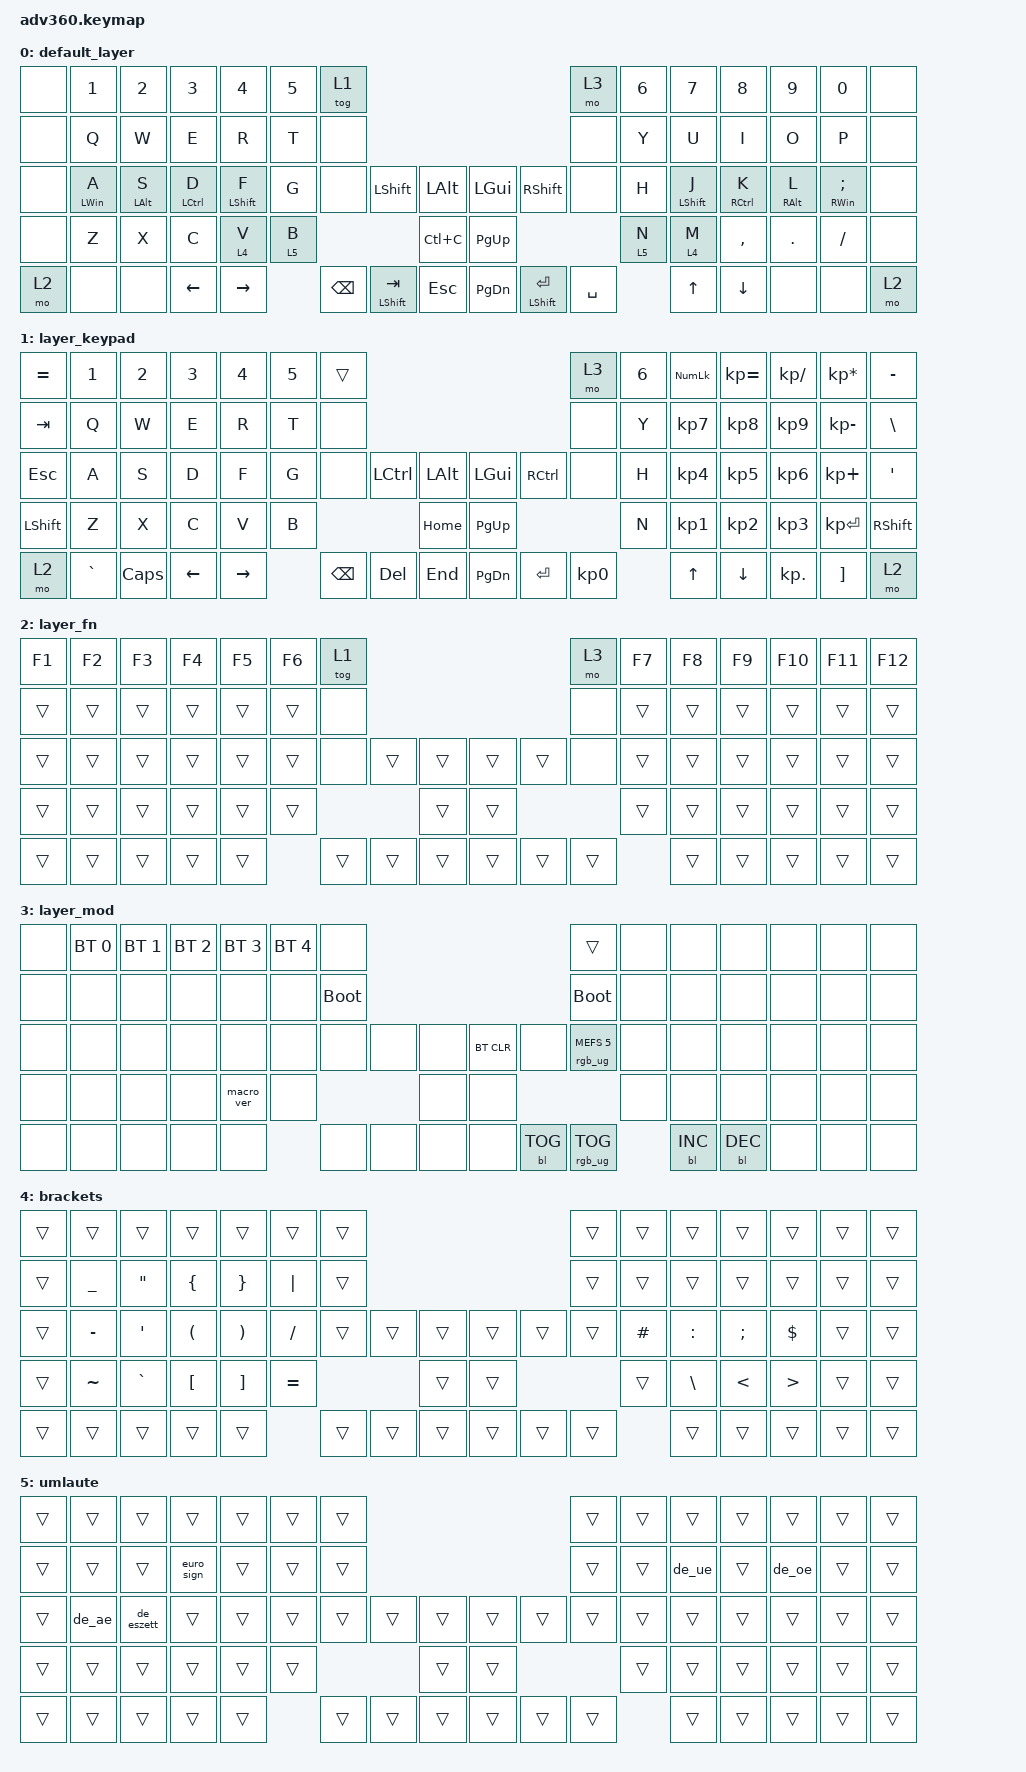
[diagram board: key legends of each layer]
/*
 * Copyright (c) 2020 The ZMK Contributors
 *
 * SPDX-License-Identifier: MIT
 */
/* THIS FILE WAS GENERATED!
 *
 * This file was generated automatically. You may or may not want to
 * edit it directly.
 */

#define HOST_OS 1

#include <behaviors.dtsi>
#include <dt-bindings/zmk/backlight.h>
#include <dt-bindings/zmk/bt.h>
#include <dt-bindings/zmk/keys.h>
#include <dt-bindings/zmk/rgb.h>

#include "./zmk-nodefree-config/helper.h"
#include "./zmk-nodefree-config/international_chars/german.dtsi"

/* Euro sign (U+20AC) */
ZMK_UNICODE_SINGLE(euro_sign, N2, N0, A, C)

#define LEFT_HAND_KEYS 0 1 2 3 4 5 6 \
                  14 15 16 17 18 19 20 \
                  28 29 30 31 32 33 34 \
                  46 47 48 49 50 51 \
                  66 67 68 69 70
#define RIGHT_HAND_KEYS 7 8 9 10 11 12 13 \
                   21 22 23 24 25 26 27 \
                   39 40 41 42 43 44 45 \
                   60 61 62 63 64 65 \
                   77 78 79 80 81
#define THUMB_KEYS 35 36 54 71 72 73 37 38 57 74 75 76
#define THUMBS THUMBS_LEFT THUMBS_RIGHT

/ {
    behaviors {
        #include "macros.dtsi"
        #include "version.dtsi"

        #ifndef HOMEY_HOLDING_TYPE
        #define HOMEY_HOLDING_TYPE "tap-preferred"
        #endif

        #ifndef HOMEY_HOLDING_TIME
        #define HOMEY_HOLDING_TIME 170
        #endif

        #ifndef HOMEY_STREAK_DECAY
        #define HOMEY_STREAK_DECAY 80
        #endif

        #ifndef SHIFT_HOLDING_TYPE
        #define SHIFT_HOLDING_TYPE "tap-preferred"
        #endif

        #ifndef SHIFT_HOLDING_TIME
        #define SHIFT_HOLDING_TIME 170
        #endif

        #ifndef SHIFT_STREAK_DECAY
        #define SHIFT_STREAK_DECAY 0
        #endif

        #ifndef PLAIN_HOLDING_TYPE
        #define PLAIN_HOLDING_TYPE "tap-preferred"
        #endif

        #ifndef PLAIN_HOLDING_TIME
        #define PLAIN_HOLDING_TIME 170
        #endif

        #ifndef PLAIN_STREAK_DECAY
        #define PLAIN_STREAK_DECAY 130
        #endif

        #ifndef THUMB_HOLDING_TYPE
        #define THUMB_HOLDING_TYPE "balanced"
        #endif

        #ifndef THUMB_HOLDING_TIME
        #define THUMB_HOLDING_TIME 200
        #endif

        #ifndef SPACE_HOLDING_TYPE
        #define SPACE_HOLDING_TYPE "balanced"
        #endif

        #ifndef SPACE_HOLDING_TIME
        #define SPACE_HOLDING_TIME 200
        #endif

        hm: homerow_mods {
            compatible = "zmk,behavior-hold-tap";
            label = "HOMEROW_MODS";
            #binding-cells = <2>;
            tapping-term-ms = <200>;
            quick_tap_ms = <175>;
            flavor = "tap-preferred";
            bindings = <&kp>, <&kp>;
        };

        //
        // Home row mod-tap keys for all except index fingers
        //

        homey_left: home_row_mods_left_hand {
            compatible = "zmk,behavior-hold-tap";
            label = "HOME_ROW_MODS_LEFT_HAND";
            flavor =
            HOMEY_HOLDING_TYPE;
            hold-trigger-key-positions = <RIGHT_HAND_KEYS THUMB_KEYS>;
            hold-trigger-on-release; // wait for other home row mods
            tapping-term-ms = <HOMEY_HOLDING_TIME>;
            require-prior-idle-ms = <HOMEY_STREAK_DECAY>;
            #binding-cells = <2>;
            bindings = <&kp>, <&kp>;
        };

        homey_right: home_row_mods_right_hand {
            compatible = "zmk,behavior-hold-tap";
            label = "HOME_ROW_MODS_RIGHT_HAND";
            flavor =
            HOMEY_HOLDING_TYPE;
            hold-trigger-key-positions = <LEFT_HAND_KEYS THUMB_KEYS>;
            hold-trigger-on-release; // wait for other home row mods
            tapping-term-ms = <HOMEY_HOLDING_TIME>;
            require-prior-idle-ms = <HOMEY_STREAK_DECAY>;
            #binding-cells = <2>;
            bindings = <&kp>, <&kp>;
        };

        //
        // Special home row mod-tap keys for the index fingers
        //

        shift_left: home_row_shift_left_hand {
            compatible = "zmk,behavior-hold-tap";
            label = "HOME_ROW_SHIFT_LEFT_HAND";
            flavor =
            SHIFT_HOLDING_TYPE;
            hold-trigger-key-positions = <RIGHT_HAND_KEYS THUMB_KEYS>;

            //hold-trigger-on-release; // don't wait for other mods

            tapping-term-ms = <SHIFT_HOLDING_TIME>;
            require-prior-idle-ms = <SHIFT_STREAK_DECAY>;
            #binding-cells = <2>;
            bindings = <&kp>, <&kp>;
        };

        shift_right: home_row_shift_right_hand {
            compatible = "zmk,behavior-hold-tap";
            label = "HOME_ROW_SHIFT_RIGHT_HAND";
            flavor =
            SHIFT_HOLDING_TYPE;
            hold-trigger-key-positions = <LEFT_HAND_KEYS THUMB_KEYS>;

            //hold-trigger-on-release; // don't wait for other mods

            tapping-term-ms = <SHIFT_HOLDING_TIME>;
            require-prior-idle-ms = <SHIFT_STREAK_DECAY>;
            #binding-cells = <2>;
            bindings = <&kp>, <&kp>;
        };

        plain: plain_typing_layer {
            compatible = "zmk,behavior-hold-tap";
            label = "PLAIN_TYPING_LAYER";
            flavor =
            PLAIN_HOLDING_TYPE;
            tapping-term-ms = <PLAIN_HOLDING_TIME>;
            require-prior-idle-ms = <PLAIN_STREAK_DECAY>;
            #binding-cells = <2>;
            bindings = <&mo>, <&kp>;
        };

        //
        // Thumb cluster hold-tap keys for Miryoku layers
        //

        thumb: thumb_layer_access {
            compatible = "zmk,behavior-hold-tap";
            label = "THUMB_LAYER_ACCESS";
            flavor =
            THUMB_HOLDING_TYPE;
            tapping-term-ms = <THUMB_HOLDING_TIME>;
            #binding-cells = <2>;
            bindings = <&mo>, <&kp>;
        };

        space: thumb_layer_access_spacebar {
            compatible = "zmk,behavior-hold-tap";
            label = "THUMB_LAYER_ACCESS_SPACEBAR";
            flavor =
            SPACE_HOLDING_TYPE;
            tapping-term-ms = <SPACE_HOLDING_TIME>;
            #binding-cells = <2>;
            bindings = <&mo>, <&kp>;
        };
    };

    keymap {
        compatible = "zmk,keymap";

        default_layer {
            bindings = <
&none  &kp N1                  &kp N2                  &kp N3               &kp N4                    &kp N5   &tog 1                                                                         &mo 3      &kp N6   &kp N7                     &kp N8                &kp N9                    &kp N0                            &none
&none  &kp Q                   &kp W                   &kp E                &kp R                     &kp T    &none                                                                          &none      &kp Y    &kp U                      &kp I                 &kp O                     &kp P                             &none
&none  &homey_left LEFT_WIN A  &homey_left LEFT_ALT S  &homey_left LCTRL D  &shift_left LEFT_SHIFT F  &kp G    &none     &kp LEFT_SHIFT      &kp LALT        &kp LGUI   &kp RIGHT_SHIFT       &none      &kp H    &shift_right LEFT_SHIFT J  &homey_right RCTRL K  &homey_right RIGHT_ALT L  &homey_right RIGHT_WIN SEMICOLON  &none
&none  &kp Z                   &kp X                   &kp C                &lt 4 V                   &lt 5 B                                &kp LC(C)       &kp PG_UP                                   &lt 5 N  &lt 4 M                    &kp COMMA             &kp DOT                   &kp FSLH                          &none
&mo 2  &none                   &none                   &kp LEFT             &kp RIGHT                          &kp BSPC  &hm LEFT_SHIFT TAB  &kp ESCAPE      &kp PG_DN  &mt LEFT_SHIFT ENTER  &kp SPACE           &kp UP_ARROW               &kp DOWN              &none                     &none                             &mo 2
            >;
        };

        layer_keypad {
            bindings = <
&kp EQUAL  &kp N1     &kp N2    &kp N3    &kp N4     &kp N5  &trans                                                   &mo 3      &kp N6  &kp KP_NUM  &kp KP_EQUAL  &kp KP_DIVIDE  &kp KP_MULTIPLY  &kp MINUS
&kp TAB    &kp Q      &kp W     &kp E     &kp R      &kp T   &none                                                    &none      &kp Y   &kp KP_N7   &kp KP_N8     &kp KP_N9      &kp KP_MINUS     &kp BSLH
&kp ESC    &kp A      &kp S     &kp D     &kp F      &kp G   &none     &kp LCTRL  &kp LALT      &kp LGUI   &kp RCTRL  &none      &kp H   &kp KP_N4   &kp KP_N5     &kp KP_N6      &kp KP_PLUS      &kp SQT
&kp LSHFT  &kp Z      &kp X     &kp C     &kp V      &kp B                        &kp HOME      &kp PG_UP                        &kp N   &kp KP_N1   &kp KP_N2     &kp KP_N3      &kp KP_ENTER     &kp RSHFT
&mo 2      &kp GRAVE  &kp CAPS  &kp LEFT  &kp RIGHT          &kp BSPC  &kp DEL    &kp END       &kp PG_DN  &kp ENTER  &kp KP_N0          &kp UP      &kp DOWN      &kp KP_DOT     &kp RBKT         &mo 2
            >;
        };

        layer_fn {
            bindings = <
&kp F1  &kp F2  &kp F3  &kp F4  &kp F5  &kp F6  &tog 1                                      &mo 3   &kp F7  &kp F8  &kp F9  &kp F10  &kp F11  &kp F12
&trans  &trans  &trans  &trans  &trans  &trans  &none                                       &none   &trans  &trans  &trans  &trans   &trans   &trans
&trans  &trans  &trans  &trans  &trans  &trans  &none   &trans  &trans      &trans  &trans  &none   &trans  &trans  &trans  &trans   &trans   &trans
&trans  &trans  &trans  &trans  &trans  &trans                  &trans      &trans                  &trans  &trans  &trans  &trans   &trans   &trans
&trans  &trans  &trans  &trans  &trans          &trans  &trans  &trans      &trans  &trans  &trans          &trans  &trans  &trans   &trans   &trans
            >;
        };

        layer_mod {
            bindings = <
&none  &bt BT_SEL 0  &bt BT_SEL 1  &bt BT_SEL 2  &bt BT_SEL 3  &bt BT_SEL 4  &none                                                  &trans                  &none  &none       &none       &none  &none  &none
&none  &none         &none         &none         &none         &none         &bootloader                                            &bootloader             &none  &none       &none       &none  &none  &none
&none  &none         &none         &none         &none         &none         &none        &none  &none      &bt BT_CLR  &none       &rgb_ug RGB_MEFS_CMD 5  &none  &none       &none       &none  &none  &none
&none  &none         &none         &none         &macro_ver    &none                             &none      &none                                           &none  &none       &none       &none  &none  &none
&none  &none         &none         &none         &none                       &none        &none  &none      &none       &bl BL_TOG  &rgb_ug RGB_TOG                &bl BL_INC  &bl BL_DEC  &none  &none  &none
            >;
        };

        brackets {
            bindings = <
&trans  &trans     &trans             &trans                &trans                 &trans     &trans                                      &trans  &trans    &trans         &trans         &trans            &trans  &trans
&trans  &kp UNDER  &kp DOUBLE_QUOTES  &kp LEFT_BRACE        &kp RIGHT_BRACE        &kp PIPE   &trans                                      &trans  &trans    &trans         &trans         &trans            &trans  &trans
&trans  &kp MINUS  &kp SINGLE_QUOTE   &kp LEFT_PARENTHESIS  &kp RIGHT_PARENTHESIS  &kp SLASH  &trans  &trans  &trans      &trans  &trans  &trans  &kp HASH  &kp COLON      &kp SEMICOLON  &kp DOLLAR        &trans  &trans
&trans  &kp TILDE  &kp GRAVE          &kp LEFT_BRACKET      &kp RIGHT_BRACKET      &kp EQUAL                  &trans      &trans                  &trans    &kp BACKSLASH  &kp LESS_THAN  &kp GREATER_THAN  &trans  &trans
&trans  &trans     &trans             &trans                &trans                            &trans  &trans  &trans      &trans  &trans  &trans            &trans         &trans         &trans            &trans  &trans
            >;
        };

        umlaute {
            bindings = <
&trans  &trans  &trans      &trans  &trans  &trans  &trans                                      &trans  &trans  &trans  &trans  &trans  &trans  &trans
&trans  &trans  &trans      &euro_sign  &trans  &trans  &trans                                      &trans  &trans  &de_ue  &trans  &de_oe  &trans  &trans
&trans  &de_ae  &de_eszett  &trans  &trans  &trans  &trans  &trans  &trans      &trans  &trans  &trans  &trans  &trans  &trans  &trans  &trans  &trans
&trans  &trans  &trans      &trans  &trans  &trans                  &trans      &trans                  &trans  &trans  &trans  &trans  &trans  &trans
&trans  &trans  &trans      &trans  &trans          &trans  &trans  &trans      &trans  &trans  &trans          &trans  &trans  &trans  &trans  &trans
            >;
        };
    };
};
